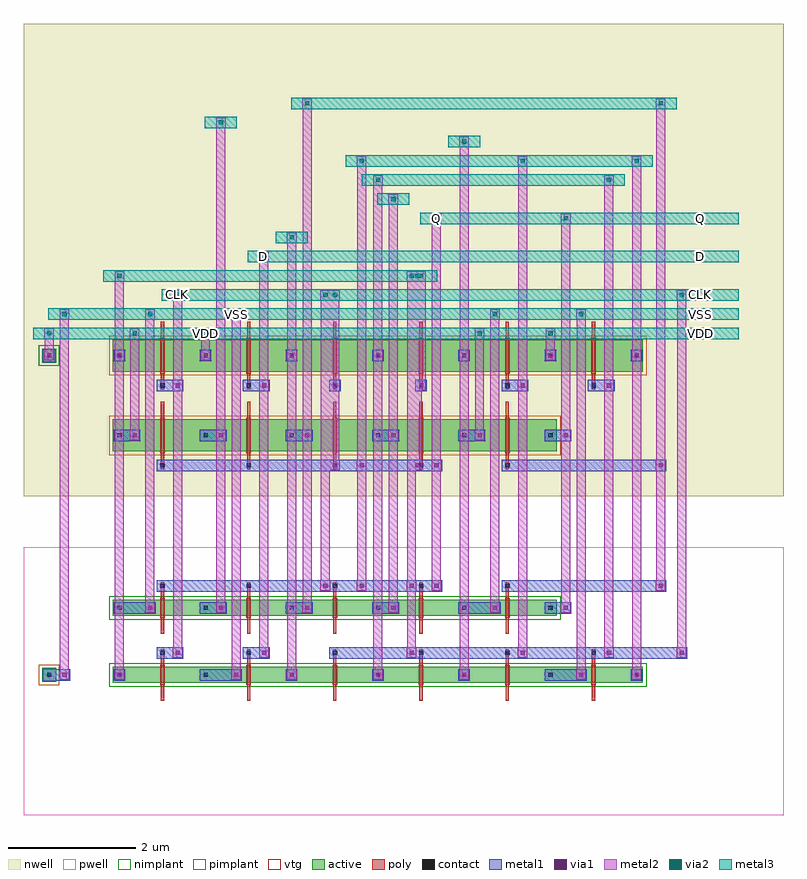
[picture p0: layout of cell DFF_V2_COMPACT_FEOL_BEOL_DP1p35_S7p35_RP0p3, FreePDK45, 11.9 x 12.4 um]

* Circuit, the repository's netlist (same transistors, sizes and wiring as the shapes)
* cell DFF_V2_COMPACT_FEOL_BEOL_DP1p35_S7p35_RP0p3
* pin D
* pin CLK,Q
* pin VDD
* pin VSS
.SUBCKT DFF_V2_COMPACT_FEOL_BEOL_DP1p35_S7p35_RP0p3 2 4 8 9
* net 2 D
* net 4 CLK,Q
* net 8 VDD
* net 9 VSS
* device instance $1 r0 *1 1.875,7 PMOS_VTG
M$1 8 4 4 8 PMOS_VTG L=0.05U W=1U AS=0.7P AD=0.7P PS=4.3U PD=4.3U
* device instance $2 r0 *1 3.225,7 PMOS_VTG
M$2 3 2 8 8 PMOS_VTG L=0.05U W=0.5U AS=0.325P AD=0.325P PS=1.8U PD=1.8U
* device instance $3 r0 *1 4.575,7 PMOS_VTG
M$3 4 4 3 8 PMOS_VTG L=0.05U W=0.5U AS=0.325P AD=0.325P PS=1.8U PD=1.8U
* device instance $4 r0 *1 5.925,7 PMOS_VTG
M$4 1 4 4 8 PMOS_VTG L=0.05U W=0.5U AS=0.325P AD=0.325P PS=1.8U PD=1.8U
* device instance $5 r0 *1 7.275,7 PMOS_VTG
M$5 8 4 1 8 PMOS_VTG L=0.05U W=0.5U AS=0.325P AD=0.325P PS=1.8U PD=1.8U
* device instance $7 r0 *1 1.875,5.75 PMOS_VTG
M$7 5 4 8 8 PMOS_VTG L=0.05U W=0.5U AS=0.375P AD=0.325P PS=2.5U PD=1.8U
* device instance $8 r0 *1 3.225,5.75 PMOS_VTG
M$8 6 4 5 8 PMOS_VTG L=0.05U W=0.5U AS=0.325P AD=0.325P PS=1.8U PD=1.8U
* device instance $9 r0 *1 4.575,5.75 PMOS_VTG
M$9 7 4 6 8 PMOS_VTG L=0.05U W=0.5U AS=0.325P AD=0.325P PS=1.8U PD=1.8U
* device instance $10 r0 *1 5.925,5.75 PMOS_VTG
M$10 8 4 7 8 PMOS_VTG L=0.05U W=0.5U AS=0.325P AD=0.325P PS=1.8U PD=1.8U
* device instance $11 r0 *1 7.275,5.75 PMOS_VTG
M$11 4 6 8 8 PMOS_VTG L=0.05U W=0.5U AS=0.325P AD=0.375P PS=1.8U PD=2.5U
* device instance $12 r0 *1 1.875,3.05 NMOS_VTG
M$12 5 4 9 9 NMOS_VTG L=0.05U W=0.25U AS=0.1875P AD=0.1625P PS=2U PD=1.55U
* device instance $13 r0 *1 3.225,3.05 NMOS_VTG
M$13 6 4 5 9 NMOS_VTG L=0.05U W=0.25U AS=0.1625P AD=0.1625P PS=1.55U PD=1.55U
* device instance $14 r0 *1 4.575,3.05 NMOS_VTG
M$14 7 4 6 9 NMOS_VTG L=0.05U W=0.25U AS=0.1625P AD=0.1625P PS=1.55U PD=1.55U
* device instance $15 r0 *1 5.925,3.05 NMOS_VTG
M$15 9 4 7 9 NMOS_VTG L=0.05U W=0.25U AS=0.1625P AD=0.1625P PS=1.55U PD=1.55U
* device instance $16 r0 *1 7.275,3.05 NMOS_VTG
M$16 4 6 9 9 NMOS_VTG L=0.05U W=0.25U AS=0.1625P AD=0.1875P PS=1.55U PD=2U
* device instance $17 r0 *1 1.875,2 NMOS_VTG
M$17 9 4 4 9 NMOS_VTG L=0.05U W=0.5U AS=0.35P AD=0.35P PS=3.55U PD=3.55U
* device instance $18 r0 *1 3.225,2 NMOS_VTG
M$18 3 2 9 9 NMOS_VTG L=0.05U W=0.25U AS=0.1625P AD=0.1625P PS=1.55U PD=1.55U
* device instance $19 r0 *1 4.575,2 NMOS_VTG
M$19 4 4 3 9 NMOS_VTG L=0.05U W=0.25U AS=0.1625P AD=0.1625P PS=1.55U PD=1.55U
* device instance $20 r0 *1 5.925,2 NMOS_VTG
M$20 1 4 4 9 NMOS_VTG L=0.05U W=0.25U AS=0.1625P AD=0.1625P PS=1.55U PD=1.55U
* device instance $21 r0 *1 7.275,2 NMOS_VTG
M$21 9 4 1 9 NMOS_VTG L=0.05U W=0.25U AS=0.1625P AD=0.1625P PS=1.55U PD=1.55U
.ENDS DFF_V2_COMPACT_FEOL_BEOL_DP1p35_S7p35_RP0p3

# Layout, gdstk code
import gdstk
lib = gdstk.Library(unit=1e-6, precision=5e-10)
def R(c, l, rs):  # rectangles x0, y0, x1, y1
    for r in rs: c.add(gdstk.rectangle(r[:2], r[2:], *l))
def A(c, l, x, y, w, h, nx, ny, dx, dy):  # array of equal rectangles
    R(c, l, [(x+i*dx, y+j*dy, x+i*dx+w, y+j*dy+h) for i in range(nx) for j in range(ny)])
active = (1, 0)
pwell = (2, 0)
nwell = (3, 0)
nimplant = (4, 0)
pimplant = (5, 0)
vtg = (6, 0)
poly = (9, 0)
contact = (10, 0)
metal1 = (11, 0)
via1 = (12, 0)
metal2 = (13, 0)
via2 = (14, 0)
metal3 = (15, 0)

dff_v2_compact_feol_beol = lib.new_cell('DFF_V2_COMPACT_FEOL_BEOL_DP1p35_S7p35_RP0p3')
R(dff_v2_compact_feol_beol, active, [(1.1,1.875,9.4,2.125), (-0.01,1.89,0.21,2.11), (1.1,2.925,8.05,3.175), (1.1,5.5,8.05,6), (1.1,6.75,9.4,7.25), (-0.01,6.89,0.21,7.11)])
R(dff_v2_compact_feol_beol, pwell, [(-0.3,-0.2,11.6,4)])
R(dff_v2_compact_feol_beol, nwell, [(-0.3,4.8,11.6,12.2)])
R(dff_v2_compact_feol_beol, nimplant, [(1.04,1.815,9.46,2.185), (1.04,2.865,8.11,3.235), (-0.06,6.84,0.26,7.16)])
R(dff_v2_compact_feol_beol, pimplant, [(-0.06,1.84,0.26,2.16), (1.04,5.44,8.11,6.06), (1.04,6.69,9.46,7.31)])
A(dff_v2_compact_feol_beol, vtg, 1.84, 1.845, 0.07, 0.31, 6, 1, 1.35, 0)
A(dff_v2_compact_feol_beol, vtg, 1.84, 2.895, 0.07, 0.31, 5, 1, 1.35, 0)
A(dff_v2_compact_feol_beol, vtg, 1.84, 5.47, 0.07, 0.56, 5, 1, 1.35, 0)
A(dff_v2_compact_feol_beol, vtg, 1.84, 6.72, 0.07, 0.56, 6, 1, 1.35, 0)
A(dff_v2_compact_feol_beol, poly, 1.85, 1.595, 0.05, 0.81, 6, 1, 1.35, 0)
A(dff_v2_compact_feol_beol, poly, 1.85, 2.645, 0.05, 0.81, 5, 1, 1.35, 0)
A(dff_v2_compact_feol_beol, poly, 1.85, 5.22, 0.05, 1.06, 5, 1, 1.35, 0)
A(dff_v2_compact_feol_beol, poly, 1.85, 6.47, 0.05, 1.06, 6, 1, 1.35, 0)
A(dff_v2_compact_feol_beol, contact, 1.17, 1.97, 0.065, 0.065, 7, 2, 1.35, 5)
A(dff_v2_compact_feol_beol, contact, 1.845, 2.315, 0.065, 0.065, 6, 2, 1.35, 4.185)
A(dff_v2_compact_feol_beol, contact, 1.17, 3.02, 0.065, 0.065, 6, 2, 1.35, 2.7)
A(dff_v2_compact_feol_beol, contact, 1.845, 3.365, 0.065, 0.065, 5, 2, 1.35, 1.885)
R(dff_v2_compact_feol_beol, contact, [(0.07,1.97,0.135,2.035), (0.07,6.97,0.135,7.035)])
A(dff_v2_compact_feol_beol, metal1, 2.55, 2.96, 0.24, 0.18, 3, 1, 1.35, 0)
A(dff_v2_compact_feol_beol, metal1, 1.785, 5.19, 0.18, 0.18, 3, 1, 1.35, 0)
A(dff_v2_compact_feol_beol, metal1, 1.2, 5.66, 0.24, 0.18, 6, 1, 1.35, 0)
R(dff_v2_compact_feol_beol, metal1, [(0,1.9,0.2,2.1), (0.1,1.91,0.34,2.09), (0.25,1.91,0.43,2.09), (1.11,1.91,1.29,2.09), (1.11,1.91,1.29,2.09), (2.46,1.91,2.64,2.09), (2.55,1.91,3.03,2.09), (2.94,1.91,3.12,2.09), (3.81,1.91,3.99,2.09), (3.81,1.91,3.99,2.09), (5.16,1.91,5.34,2.09), (5.16,1.91,5.34,2.09), (6.51,1.91,6.69,2.09), (6.51,1.91,6.69,2.09), (7.86,1.91,8.04,2.09), (7.95,1.91,8.43,2.09), (8.34,1.91,8.52,2.09), (9.21,1.91,9.39,2.09), (9.21,1.91,9.39,2.09), (1.785,2.255,1.965,2.435), (1.875,2.255,2.115,2.435), (2.025,2.255,2.205,2.435), (3.135,2.255,3.315,2.435), (3.225,2.255,3.465,2.435), (3.375,2.255,3.555,2.435), (4.485,2.255,4.665,2.435), (4.575,2.255,5.775,2.435), (5.685,2.255,5.865,2.435), (5.835,2.255,6.015,2.435), (5.925,2.255,10.005,2.435), (7.185,2.255,7.365,2.435), (7.275,2.255,7.515,2.435), (7.425,2.255,7.605,2.435), (8.535,2.255,8.715,2.435), (8.625,2.255,8.865,2.435), (8.775,2.255,8.955,2.435), (9.915,2.255,10.095,2.435), (1.11,2.96,1.29,3.14), (1.2,2.96,1.68,3.14), (1.59,2.96,1.77,3.14), (2.46,2.96,2.64,3.14), (2.7,2.96,2.88,3.14), (3.81,2.96,3.99,3.14), (4.05,2.96,4.23,3.14), (5.16,2.96,5.34,3.14), (5.4,2.96,5.58,3.14), (6.51,2.96,6.69,3.14), (6.6,2.96,7.08,3.14), (6.99,2.96,7.17,3.14), (7.86,2.96,8.04,3.14), (7.95,2.96,8.19,3.14), (8.1,2.96,8.28,3.14), (1.785,3.305,1.965,3.485), (1.875,3.305,4.995,3.485), (3.135,3.305,3.315,3.485), (3.225,3.305,4.425,3.485), (4.335,3.305,4.515,3.485), (4.485,3.305,4.665,3.485), (4.575,3.305,5.775,3.485), (4.905,3.305,5.085,3.485), (5.685,3.305,5.865,3.485), (5.835,3.305,6.015,3.485), (5.925,3.305,6.165,3.485), (6.075,3.305,6.255,3.485), (7.185,3.305,7.365,3.485), (7.275,3.305,9.675,3.485), (9.585,3.305,9.765,3.485), (1.875,5.19,4.995,5.37), (3.225,5.19,5.865,5.37), (4.485,5.19,4.665,5.37), (4.905,5.19,5.085,5.37), (5.775,5.19,5.955,5.37), (5.835,5.19,6.015,5.37), (5.925,5.19,6.165,5.37), (6.075,5.19,6.255,5.37), (7.185,5.19,7.365,5.37), (7.275,5.19,9.675,5.37), (9.585,5.19,9.765,5.37), (1.11,5.66,1.29,5.84), (1.35,5.66,1.53,5.84), (2.46,5.66,2.64,5.84), (2.7,5.66,2.88,5.84), (3.81,5.66,3.99,5.84), (4.05,5.66,4.23,5.84), (5.16,5.66,5.34,5.84), (5.4,5.66,5.58,5.84), (6.51,5.66,6.69,5.84), (6.75,5.66,6.93,5.84), (7.86,5.66,8.04,5.84), (8.1,5.66,8.28,5.84), (1.785,6.44,1.965,6.62), (1.875,6.44,2.115,6.62), (2.025,6.44,2.205,6.62), (3.135,6.44,3.315,6.62), (3.225,6.44,3.465,6.62), (3.375,6.44,3.555,6.62), (4.485,6.44,4.665,6.62), (4.485,6.44,4.665,6.62), (5.835,6.44,6.015,6.62), (5.835,6.44,6.015,6.62), (7.185,6.44,7.365,6.62), (7.275,6.44,7.515,6.62), (7.425,6.44,7.605,6.62), (8.535,6.44,8.715,6.62), (8.625,6.44,8.865,6.62), (8.775,6.44,8.955,6.62), (0,6.9,0.2,7.1), (0.01,6.91,0.19,7.09), (1.11,6.91,1.29,7.09), (1.11,6.91,1.29,7.09), (2.46,6.91,2.64,7.09), (2.46,6.91,2.64,7.09), (3.81,6.91,3.99,7.09), (3.81,6.91,3.99,7.09), (5.16,6.91,5.34,7.09), (5.16,6.91,5.34,7.09), (6.51,6.91,6.69,7.09), (6.51,6.91,6.69,7.09), (7.86,6.91,8.04,7.09), (7.86,6.91,8.04,7.09), (9.21,6.91,9.39,7.09), (9.21,6.91,9.39,7.09)])
A(dff_v2_compact_feol_beol, via1, 3.87, 1.97, 0.065, 0.065, 3, 1, 1.35, 0)
A(dff_v2_compact_feol_beol, via1, 2.76, 3.02, 0.065, 0.065, 3, 1, 1.35, 0)
A(dff_v2_compact_feol_beol, via1, 1.41, 5.72, 0.065, 0.065, 6, 1, 1.35, 0)
A(dff_v2_compact_feol_beol, via1, 1.17, 6.97, 0.065, 0.065, 7, 1, 1.35, 0)
R(dff_v2_compact_feol_beol, via1, [(0.31,1.97,0.375,2.035), (1.17,1.97,1.235,2.035), (3,1.97,3.065,2.035), (8.4,1.97,8.465,2.035), (9.27,1.97,9.335,2.035), (2.085,2.315,2.15,2.38), (3.435,2.315,3.5,2.38), (5.745,2.315,5.81,2.38), (7.485,2.315,7.55,2.38), (8.835,2.315,8.9,2.38), (9.975,2.315,10.04,2.38), (1.65,3.02,1.715,3.085), (7.05,3.02,7.115,3.085), (8.16,3.02,8.225,3.085), (4.395,3.365,4.46,3.43), (4.965,3.365,5.03,3.43), (5.745,3.365,5.81,3.43), (6.135,3.365,6.2,3.43), (9.645,3.365,9.71,3.43), (4.545,5.25,4.61,5.315), (4.965,5.25,5.03,5.315), (5.835,5.25,5.9,5.315), (6.135,5.25,6.2,5.315), (9.645,5.25,9.71,5.315), (2.085,6.5,2.15,6.565), (3.435,6.5,3.5,6.565), (4.545,6.5,4.61,6.565), (5.895,6.5,5.96,6.565), (7.485,6.5,7.55,6.565), (8.835,6.5,8.9,6.565), (0.07,6.97,0.135,7.035)])
A(dff_v2_compact_feol_beol, metal2, 3.825, 1.925, 0.15, 0.15, 3, 1, 1.35, 0)
A(dff_v2_compact_feol_beol, metal2, 2.715, 2.975, 0.15, 0.15, 3, 1, 1.35, 0)
A(dff_v2_compact_feol_beol, metal2, 1.365, 5.675, 0.15, 0.15, 6, 1, 1.35, 0)
A(dff_v2_compact_feol_beol, metal2, 1.125, 6.925, 0.15, 0.15, 7, 1, 1.35, 0)
R(dff_v2_compact_feol_beol, metal2, [(0.265,1.925,0.415,2.075), (1.125,1.925,1.275,2.075), (2.955,1.925,3.105,2.075), (8.355,1.925,8.505,2.075), (9.225,1.925,9.375,2.075), (0.27,2,0.41,7.65), (1.13,2,1.27,8.25), (2.96,2,3.1,7.65), (3.83,2,3.97,8.85), (5.18,2,5.32,9.75), (6.53,2,6.67,10.35), (8.36,2,8.5,7.65), (9.23,2,9.37,10.05), (2.04,2.27,2.19,2.42), (3.39,2.27,3.54,2.42), (5.7,2.27,5.85,2.42), (7.44,2.27,7.59,2.42), (8.79,2.27,8.94,2.42), (9.93,2.27,10.08,2.42), (2.045,2.345,2.185,7.95), (3.395,2.345,3.535,8.55), (5.705,2.345,5.845,8.25), (7.445,2.345,7.585,10.05), (8.795,2.345,8.935,9.75), (9.935,2.345,10.075,7.95), (1.605,2.975,1.755,3.125), (7.005,2.975,7.155,3.125), (8.115,2.975,8.265,3.125), (1.61,3.05,1.75,7.65), (2.72,3.05,2.86,10.65), (4.07,3.05,4.21,10.95), (5.42,3.05,5.56,9.45), (7.01,3.05,7.15,7.65), (8.12,3.05,8.26,9.15), (4.35,3.32,4.5,3.47), (4.92,3.32,5.07,3.47), (5.7,3.32,5.85,3.47), (6.09,3.32,6.24,3.47), (9.6,3.32,9.75,3.47), (4.355,3.395,4.495,7.95), (4.925,3.395,5.065,10.05), (5.705,3.395,5.845,8.25), (6.095,3.395,6.235,9.15), (9.605,3.395,9.745,10.95), (4.5,5.205,4.65,5.355), (4.92,5.205,5.07,5.355), (5.79,5.205,5.94,5.355), (6.09,5.205,6.24,5.355), (9.6,5.205,9.75,5.355), (4.505,5.28,4.645,7.95), (4.925,5.28,5.065,10.05), (5.795,5.28,5.935,8.25), (6.095,5.28,6.235,9.15), (9.605,5.28,9.745,10.95), (1.37,5.75,1.51,7.35), (2.72,5.75,2.86,10.65), (4.07,5.75,4.21,10.95), (5.42,5.75,5.56,9.45), (6.77,5.75,6.91,7.35), (8.12,5.75,8.26,9.15), (2.04,6.455,2.19,6.605), (3.39,6.455,3.54,6.605), (4.5,6.455,4.65,6.605), (5.85,6.455,6,6.605), (7.44,6.455,7.59,6.605), (8.79,6.455,8.94,6.605), (2.045,6.53,2.185,7.95), (3.395,6.53,3.535,8.55), (4.505,6.53,4.645,7.95), (5.855,6.53,5.995,8.25), (7.445,6.53,7.585,10.05), (8.795,6.53,8.935,9.75), (0.025,6.925,0.175,7.075), (0.03,7,0.17,7.35), (1.13,7,1.27,8.25), (2.48,7,2.62,7.35), (3.83,7,3.97,8.85), (5.18,7,5.32,9.75), (6.53,7,6.67,10.35), (7.88,7,8.02,7.35), (9.23,7,9.37,10.05), (0.025,7.275,0.175,7.425), (1.365,7.275,1.515,7.425), (2.475,7.275,2.625,7.425), (6.765,7.275,6.915,7.425), (7.875,7.275,8.025,7.425), (0.265,7.575,0.415,7.725), (1.605,7.575,1.755,7.725), (2.955,7.575,3.105,7.725), (7.005,7.575,7.155,7.725), (8.355,7.575,8.505,7.725), (2.04,7.875,2.19,8.025), (2.04,7.875,2.19,8.025), (4.35,7.875,4.5,8.025), (4.5,7.875,4.65,8.025), (4.5,7.875,4.65,8.025), (9.93,7.875,10.08,8.025), (1.125,8.175,1.275,8.325), (1.125,8.175,1.275,8.325), (5.7,8.175,5.85,8.325), (5.7,8.175,5.85,8.325), (5.79,8.175,5.94,8.325), (5.85,8.175,6,8.325), (3.39,8.475,3.54,8.625), (3.39,8.475,3.54,8.625), (3.825,8.775,3.975,8.925), (3.825,8.775,3.975,8.925), (6.09,9.075,6.24,9.225), (6.09,9.075,6.24,9.225), (8.115,9.075,8.265,9.225), (8.115,9.075,8.265,9.225), (5.415,9.375,5.565,9.525), (5.415,9.375,5.565,9.525), (5.175,9.675,5.325,9.825), (5.175,9.675,5.325,9.825), (8.79,9.675,8.94,9.825), (8.79,9.675,8.94,9.825), (4.92,9.975,5.07,10.125), (4.92,9.975,5.07,10.125), (7.44,9.975,7.59,10.125), (7.44,9.975,7.59,10.125), (9.225,9.975,9.375,10.125), (9.225,9.975,9.375,10.125), (6.525,10.275,6.675,10.425), (6.525,10.275,6.675,10.425), (2.715,10.575,2.865,10.725), (2.715,10.575,2.865,10.725), (4.065,10.875,4.215,11.025), (4.065,10.875,4.215,11.025), (9.6,10.875,9.75,11.025), (9.6,10.875,9.75,11.025)])
R(dff_v2_compact_feol_beol, via2, [(0.07,7.32,0.135,7.385), (1.41,7.32,1.475,7.385), (2.52,7.32,2.585,7.385), (6.81,7.32,6.875,7.385), (7.92,7.32,7.985,7.385), (0.31,7.62,0.375,7.685), (1.65,7.62,1.715,7.685), (3,7.62,3.065,7.685), (7.05,7.62,7.115,7.685), (8.4,7.62,8.465,7.685), (2.085,7.92,2.15,7.985), (2.085,7.92,2.15,7.985), (4.395,7.92,4.46,7.985), (4.545,7.92,4.61,7.985), (4.545,7.92,4.61,7.985), (9.975,7.92,10.04,7.985), (1.17,8.22,1.235,8.285), (1.17,8.22,1.235,8.285), (5.745,8.22,5.81,8.285), (5.745,8.22,5.81,8.285), (5.835,8.22,5.9,8.285), (5.895,8.22,5.96,8.285), (3.435,8.52,3.5,8.585), (3.435,8.52,3.5,8.585), (3.87,8.82,3.935,8.885), (3.87,8.82,3.935,8.885), (6.135,9.12,6.2,9.185), (6.135,9.12,6.2,9.185), (8.16,9.12,8.225,9.185), (8.16,9.12,8.225,9.185), (5.46,9.42,5.525,9.485), (5.46,9.42,5.525,9.485), (5.22,9.72,5.285,9.785), (5.22,9.72,5.285,9.785), (8.835,9.72,8.9,9.785), (8.835,9.72,8.9,9.785), (4.965,10.02,5.03,10.085), (4.965,10.02,5.03,10.085), (7.485,10.02,7.55,10.085), (7.485,10.02,7.55,10.085), (9.27,10.02,9.335,10.085), (9.27,10.02,9.335,10.085), (6.57,10.32,6.635,10.385), (6.57,10.32,6.635,10.385), (2.76,10.62,2.825,10.685), (2.76,10.62,2.825,10.685), (4.11,10.92,4.175,10.985), (4.11,10.92,4.175,10.985), (9.645,10.92,9.71,10.985), (9.645,10.92,9.71,10.985)])
R(dff_v2_compact_feol_beol, metal3, [(-0.15,7.26,8.2,7.44), (8.2,7.26,10.9,7.44), (0.025,7.275,0.175,7.425), (1.365,7.275,1.515,7.425), (2.475,7.275,2.625,7.425), (6.765,7.275,6.915,7.425), (7.875,7.275,8.025,7.425), (0.09,7.56,8.68,7.74), (8.68,7.56,10.9,7.74), (0.265,7.575,0.415,7.725), (1.605,7.575,1.755,7.725), (2.955,7.575,3.105,7.725), (7.005,7.575,7.155,7.725), (8.355,7.575,8.505,7.725), (1.865,7.86,10.255,8.04), (10.255,7.86,10.9,8.04), (2.04,7.875,2.19,8.025), (2.04,7.875,2.19,8.025), (4.35,7.875,4.5,8.025), (4.5,7.875,4.65,8.025), (4.5,7.875,4.65,8.025), (9.93,7.875,10.08,8.025), (0.95,8.16,6.175,8.34), (1.125,8.175,1.275,8.325), (1.125,8.175,1.275,8.325), (5.7,8.175,5.85,8.325), (5.7,8.175,5.85,8.325), (5.79,8.175,5.94,8.325), (5.85,8.175,6,8.325), (3.215,8.46,3.715,8.64), (3.715,8.46,10.9,8.64), (3.39,8.475,3.54,8.625), (3.39,8.475,3.54,8.625), (3.65,8.76,4.15,8.94), (3.825,8.775,3.975,8.925), (3.825,8.775,3.975,8.925), (5.915,9.06,8.44,9.24), (8.44,9.06,10.9,9.24), (6.09,9.075,6.24,9.225), (6.09,9.075,6.24,9.225), (8.115,9.075,8.265,9.225), (8.115,9.075,8.265,9.225), (5.24,9.36,5.74,9.54), (5.415,9.375,5.565,9.525), (5.415,9.375,5.565,9.525), (5,9.66,9.115,9.84), (5.175,9.675,5.325,9.825), (5.175,9.675,5.325,9.825), (8.79,9.675,8.94,9.825), (8.79,9.675,8.94,9.825), (4.745,9.96,9.55,10.14), (4.92,9.975,5.07,10.125), (4.92,9.975,5.07,10.125), (7.44,9.975,7.59,10.125), (7.44,9.975,7.59,10.125), (9.225,9.975,9.375,10.125), (9.225,9.975,9.375,10.125), (6.35,10.26,6.85,10.44), (6.525,10.275,6.675,10.425), (6.525,10.275,6.675,10.425), (2.54,10.56,3.04,10.74), (2.715,10.575,2.865,10.725), (2.715,10.575,2.865,10.725), (3.89,10.86,9.925,11.04), (4.065,10.875,4.215,11.025), (4.065,10.875,4.215,11.025), (9.6,10.875,9.75,11.025), (9.6,10.875,9.75,11.025)])
dff_v2_compact_feol_beol.add(gdstk.Label('VDD', (10.3,7.35), layer=15, texttype=0))
dff_v2_compact_feol_beol.add(gdstk.Label('VDD', (10.3,7.35), layer=15, texttype=1))
dff_v2_compact_feol_beol.add(gdstk.Label('VDD', (10.3,7.35), layer=15, texttype=2))
dff_v2_compact_feol_beol.add(gdstk.Label('VDD', (2.55,7.35), layer=13, texttype=0))
dff_v2_compact_feol_beol.add(gdstk.Label('VDD', (2.55,7.35), layer=13, texttype=1))
dff_v2_compact_feol_beol.add(gdstk.Label('VDD', (2.55,7.35), layer=13, texttype=2))
dff_v2_compact_feol_beol.add(gdstk.Label('VSS', (10.3,7.65), layer=15, texttype=0))
dff_v2_compact_feol_beol.add(gdstk.Label('VSS', (10.3,7.65), layer=15, texttype=1))
dff_v2_compact_feol_beol.add(gdstk.Label('VSS', (10.3,7.65), layer=15, texttype=2))
dff_v2_compact_feol_beol.add(gdstk.Label('VSS', (3.03,7.65), layer=13, texttype=0))
dff_v2_compact_feol_beol.add(gdstk.Label('VSS', (3.03,7.65), layer=13, texttype=1))
dff_v2_compact_feol_beol.add(gdstk.Label('VSS', (3.03,7.65), layer=13, texttype=2))
dff_v2_compact_feol_beol.add(gdstk.Label('CLK', (10.3,7.95), layer=15, texttype=0))
dff_v2_compact_feol_beol.add(gdstk.Label('CLK', (10.3,7.95), layer=15, texttype=1))
dff_v2_compact_feol_beol.add(gdstk.Label('CLK', (10.3,7.95), layer=15, texttype=2))
dff_v2_compact_feol_beol.add(gdstk.Label('CLK', (2.115,7.95), layer=13, texttype=0))
dff_v2_compact_feol_beol.add(gdstk.Label('CLK', (2.115,7.95), layer=13, texttype=1))
dff_v2_compact_feol_beol.add(gdstk.Label('CLK', (2.115,7.95), layer=13, texttype=2))
dff_v2_compact_feol_beol.add(gdstk.Label('D', (10.3,8.55), layer=15, texttype=0))
dff_v2_compact_feol_beol.add(gdstk.Label('D', (10.3,8.55), layer=15, texttype=1))
dff_v2_compact_feol_beol.add(gdstk.Label('D', (10.3,8.55), layer=15, texttype=2))
dff_v2_compact_feol_beol.add(gdstk.Label('D', (3.465,8.55), layer=13, texttype=0))
dff_v2_compact_feol_beol.add(gdstk.Label('D', (3.465,8.55), layer=13, texttype=1))
dff_v2_compact_feol_beol.add(gdstk.Label('D', (3.465,8.55), layer=13, texttype=2))
dff_v2_compact_feol_beol.add(gdstk.Label('Q', (10.3,9.15), layer=15, texttype=0))
dff_v2_compact_feol_beol.add(gdstk.Label('Q', (10.3,9.15), layer=15, texttype=1))
dff_v2_compact_feol_beol.add(gdstk.Label('Q', (10.3,9.15), layer=15, texttype=2))
dff_v2_compact_feol_beol.add(gdstk.Label('Q', (6.165,9.15), layer=13, texttype=0))
dff_v2_compact_feol_beol.add(gdstk.Label('Q', (6.165,9.15), layer=13, texttype=1))
dff_v2_compact_feol_beol.add(gdstk.Label('Q', (6.165,9.15), layer=13, texttype=2))

lib.write_gds('DFF_V2_COMPACT_FEOL_BEOL_DP1p35_S7p35_RP0p3.gds')
